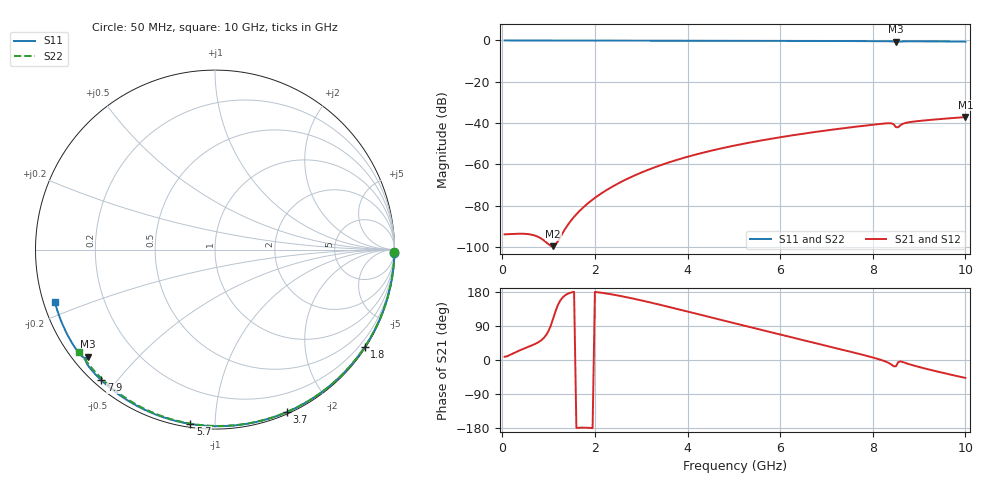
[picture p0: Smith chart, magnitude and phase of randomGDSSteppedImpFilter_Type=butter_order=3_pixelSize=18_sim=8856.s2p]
! freq	dB(S11)	phase(S11)	dB(S12)	phase(S12)
!  dB(S21)	phase(S21)	dB(S22)	phase(S22)
!S-par simulation data
#  GHz  S  DB  R 50
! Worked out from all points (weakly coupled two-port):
!   200 points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, 50 MHz to 10 GHz, reference 50 ohm
!   highest |S21| = -37.10 dB at 10 GHz (marker M1); lowest = -99.6 dB at 1.1 GHz (marker M2)
!   lowest |S11| = -0.7 dB at 8.5 GHz (marker M3), VSWR 26.59, Z = 2.13 - j18.2 ohm
!   |S11| at or under -10 dB: nowhere
!   |S22| runs from -0.5 to 0.0 dB; largest |S21 - S12| = 0
!   S11 on the Smith chart (normalised r, x): 50 MHz: open; 1.8 GHz: 0.03, -3.37; 3.7 GHz: 0.02, -1.54; 5.7 GHz: 0.02, -0.87; 7.9 GHz: 0.02, -0.46; 10 GHz: 0.03, -0.16
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0.05  -0.00 -0.9  -93.90 8.6  -93.90 8.6  -0.00 -0.8
0.55  -0.01 -10.3  -93.76 34.2  -93.76 34.2  -0.01 -9.1
1.1  -0.03 -20.4  -99.63 109.8  -99.63 109.8  -0.02 -18.1
1.75  -0.04 -32.2  -80.81 -178.5  -80.81 -178.5  -0.04 -28.6
1.8  -0.04 -33.1  -79.81 -178.6  -79.81 -178.6  -0.04 -29.4
2.1  -0.05 -38.5  -74.65 178.1  -74.65 178.1  -0.04 -34.2
2.5  -0.06 -45.5  -69.27 170.1  -69.27 170.1  -0.05 -40.5
2.9  -0.07 -52.5  -64.95 160.1  -64.95 160.1  -0.06 -46.7
3.4  -0.08 -61.0  -60.56 145.9  -60.56 145.9  -0.07 -54.4
3.7  -0.09 -66.1  -58.33 137.0  -58.33 137.0  -0.08 -58.9
4.35  -0.11 -76.8  -54.26 117.2  -54.26 117.2  -0.10 -68.5
5.05  -0.14 -88.0  -50.74 95.9  -50.74 95.9  -0.12 -78.5
5.7  -0.16 -98.1  -48.01 76.4  -48.01 76.4  -0.15 -87.6
6.7  -0.22 -113.2  -44.50 46.7  -44.50 46.7  -0.20 -101.0
7.9  -0.31 -131.0  -41.08 10.0  -41.08 10.0  -0.28 -116.6
8.35  -0.39 -138.1  -40.07 -8.1  -40.07 -8.1  -0.32 -122.3
8.45  -0.52 -139.9  -40.58 -16.5  -40.58 -16.5  -0.33 -123.5
8.5  -0.65 -140.0  -41.97 -16.5  -41.97 -16.5  -0.33 -124.2
8.55  -0.60 -139.6  -42.05 -5.8  -42.05 -5.8  -0.33 -124.8
8.65  -0.45 -141.1  -40.36 -5.5  -40.36 -5.5  -0.34 -126.1
8.8  -0.42 -143.6  -39.55 -11.6  -39.55 -11.6  -0.36 -128.0
10  -0.55 -161.8  -37.10 -47.4  -37.10 -47.4  -0.48 -143.0
